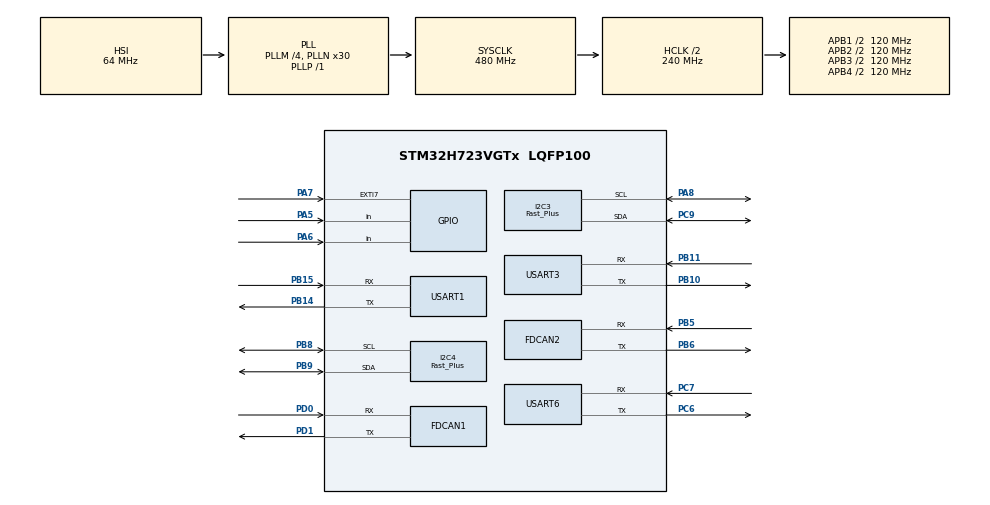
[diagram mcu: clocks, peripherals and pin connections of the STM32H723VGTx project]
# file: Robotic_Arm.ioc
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CORTEX_M7.default_mode_Activation=0
Dma.Request0=USART1_RX
Dma.Request1=USART1_TX
Dma.USART1_RX.0.Direction=DMA_PERIPH_TO_MEMORY
Dma.USART1_RX.0.EventEnable=DISABLE
Dma.USART1_RX.0.FIFOMode=DMA_FIFOMODE_DISABLE
Dma.USART1_RX.0.Instance=DMA1_Stream0
Dma.USART1_RX.0.MemDataAlignment=DMA_MDATAALIGN_BYTE
Dma.USART1_RX.0.MemInc=DMA_MINC_ENABLE
Dma.USART1_RX.0.Mode=DMA_NORMAL
Dma.USART1_RX.0.PeriphDataAlignment=DMA_PDATAALIGN_BYTE
Dma.USART1_RX.0.PeriphInc=DMA_PINC_DISABLE
Dma.USART1_RX.0.Polarity=HAL_DMAMUX_REQ_GEN_RISING
Dma.USART1_RX.0.Priority=DMA_PRIORITY_LOW
Dma.USART1_RX.0.RequestNumber=1
Dma.USART1_RX.0.SignalID=NONE
Dma.USART1_RX.0.SyncEnable=DISABLE
Dma.USART1_RX.0.SyncPolarity=HAL_DMAMUX_SYNC_NO_EVENT
Dma.USART1_RX.0.SyncRequestNumber=1
Dma.USART1_RX.0.SyncSignalID=NONE
Dma.USART1_TX.1.Direction=DMA_MEMORY_TO_PERIPH
Dma.USART1_TX.1.EventEnable=DISABLE
Dma.USART1_TX.1.FIFOMode=DMA_FIFOMODE_DISABLE
Dma.USART1_TX.1.Instance=DMA1_Stream1
Dma.USART1_TX.1.MemDataAlignment=DMA_MDATAALIGN_BYTE
Dma.USART1_TX.1.MemInc=DMA_MINC_ENABLE
Dma.USART1_TX.1.Mode=DMA_NORMAL
Dma.USART1_TX.1.PeriphDataAlignment=DMA_PDATAALIGN_BYTE
Dma.USART1_TX.1.PeriphInc=DMA_PINC_DISABLE
Dma.USART1_TX.1.Polarity=HAL_DMAMUX_REQ_GEN_RISING
Dma.USART1_TX.1.Priority=DMA_PRIORITY_LOW
Dma.USART1_TX.1.RequestNumber=1
Dma.USART1_TX.1.SignalID=NONE
Dma.USART1_TX.1.SyncEnable=DISABLE
Dma.USART1_TX.1.SyncPolarity=HAL_DMAMUX_SYNC_NO_EVENT
Dma.USART1_TX.1.SyncRequestNumber=1
Dma.USART1_TX.1.SyncSignalID=NONE
FDCAN1.AutoRetransmission=ENABLE
FDCAN1.CalculateBaudRateNominal=1000000
FDCAN1.CalculateTimeBitNominal=1000
FDCAN1.CalculateTimeQuantumNominal=25.0
FDCAN1.DataPrescaler=3
FDCAN1.DataSyncJumpWidth=2
FDCAN1.DataTimeSeg1=10
FDCAN1.DataTimeSeg2=10
FDCAN1.Mode=FDCAN_MODE_NORMAL
FDCAN1.NominalPrescaler=3
FDCAN1.NominalSyncJumpWidth=10
FDCAN1.NominalTimeSeg1=29
FDCAN1.NominalTimeSeg2=10
FDCAN1.RxFifo0ElmtsNbr=3
FDCAN1.StdFiltersNbr=1
FDCAN1.TxFifoQueueElmtsNbr=3
FDCAN2.AutoRetransmission=ENABLE
FDCAN2.CalculateBaudRateNominal=499999
FDCAN2.CalculateTimeBitNominal=2000
FDCAN2.CalculateTimeQuantumNominal=166.66666666666669
FDCAN2.Mode=FDCAN_MODE_NORMAL
FDCAN2.NominalPrescaler=20
FDCAN2.NominalTimeSeg1=9
FDCAN2.NominalTimeSeg2=2
FDCAN2.RxFifo0ElmtsNbr=3
FDCAN2.TxFifoQueueElmtsNbr=3
FREERTOS.Mutexes01=uart_log_mutex,Dynamic,NULL,Available;Read_Motor_Mutex,Dynamic,NULL,Available;OTTO_Uart_Mutex,Dynamic,NULL,Available
FREERTOS.Queues01=Solve_Angle,16,uint16_t,0,Dynamic,NULL,NULL;Motor_State,16,uint16_t,0,Dynamic,NULL,NULL;Target_Pos,16,uint16_t,0,Dynamic,NULL,NULL;CAN1RX_Data,16,CAN_Rx_Msg_t*,0,Dynamic,NULL,NULL;CAN2RX_Data,16,CAN_Rx_Msg_t*,0,Dynamic,NULL,NULL
FREERTOS.Tasks01=Motor_Control_T,40,256,Motor_Control,As weak,NULL,Dynamic,NULL,NULL;Solve_Task,32,1024,Solve,As weak,NULL,Dynamic,NULL,NULL;Camera_Data_Tas,24,256,Camera_Data,As weak,NULL,Dynamic,NULL,NULL;OLED_Task,16,1024,OLED,As weak,NULL,Dynamic,NULL,NULL;Log_Task,11,512,Log,As weak,NULL,Dynamic,NULL,NULL
I2C3.I2C_Speed_Mode=I2C_Fast_Plus
I2C3.Timing=0x0050174F
I2C4.I2C_Speed_Mode=I2C_Fast_Plus
I2C4.Timing=0x0050174F
Mcu.Family=STM32H7
Mcu.Name=STM32H723VGTx
Mcu.Package=LQFP100
NVIC.DMA1_Stream0_IRQn=true\:5\:0\:false\:false\:true\:true\:false\:true\:true
NVIC.DMA1_Stream1_IRQn=true\:5\:0\:false\:false\:true\:true\:false\:true\:true
NVIC.EXTI9_5_IRQn=true\:6\:0\:true\:false\:true\:true\:true\:true\:true
NVIC.FDCAN1_IT0_IRQn=true\:5\:0\:true\:false\:true\:true\:true\:true\:true
NVIC.FDCAN1_IT1_IRQn=true\:5\:0\:false\:false\:true\:true\:true\:true\:true
NVIC.FDCAN2_IT0_IRQn=true\:5\:0\:false\:false\:true\:true\:true\:true\:true
NVIC.FDCAN2_IT1_IRQn=true\:5\:0\:false\:false\:true\:true\:true\:true\:true
NVIC.PriorityGroup=NVIC_PRIORITYGROUP_4
NVIC.TIM23_IRQn=true\:15\:0\:false\:false\:true\:false\:false\:true\:true
NVIC.TimeBase=TIM23_IRQn
NVIC.TimeBaseIP=TIM23
NVIC.USART1_IRQn=true\:5\:0\:false\:false\:true\:true\:true\:true\:true
NVIC.USART3_IRQn=true\:5\:0\:true\:false\:true\:true\:false\:true\:true
NVIC.USART6_IRQn=true\:5\:0\:false\:false\:true\:true\:true\:true\:true
PA5.GPIO_PuPd=GPIO_PULLUP
PA5.Signal=GPIO_Input
PA6.GPIO_PuPd=GPIO_PULLUP
PA6.Signal=GPIO_Input
PA7.GPIO_ModeDefaultEXTI=GPIO_MODE_IT_FALLING
PA7.GPIO_PuPd=GPIO_PULLUP
PA7.Signal=GPXTI7
PA8.GPIO_Speed=GPIO_SPEED_FREQ_VERY_HIGH
PA8.Mode=I2C
PA8.Signal=I2C3_SCL
PB10.Mode=Asynchronous
PB10.Signal=USART3_TX
PB11.Mode=Asynchronous
PB11.Signal=USART3_RX
PB14.Mode=Asynchronous
PB14.Signal=USART1_TX
PB15.Mode=Asynchronous
PB15.Signal=USART1_RX
PB5.GPIO_Speed=GPIO_SPEED_FREQ_VERY_HIGH
PB5.Mode=FDCAN_Activate
PB5.Signal=FDCAN2_RX
PB6.GPIO_Speed=GPIO_SPEED_FREQ_VERY_HIGH
PB6.Mode=FDCAN_Activate
PB6.Signal=FDCAN2_TX
PB8.Mode=I2C
PB8.Signal=I2C4_SCL
PB9.Mode=I2C
PB9.Signal=I2C4_SDA
PC6.Mode=Asynchronous
PC6.Signal=USART6_TX
PC7.Mode=Asynchronous
PC7.Signal=USART6_RX
PC9.GPIO_Speed=GPIO_SPEED_FREQ_VERY_HIGH
PC9.Mode=I2C
PC9.Signal=I2C3_SDA
PD0.GPIO_Speed=GPIO_SPEED_FREQ_VERY_HIGH
PD0.Mode=FDCAN_Activate
PD0.Signal=FDCAN1_RX
PD1.GPIO_Speed=GPIO_SPEED_FREQ_VERY_HIGH
PD1.Mode=FDCAN_Activate
PD1.Signal=FDCAN1_TX
PH0-OSC_IN.Mode=HSE-External-Oscillator
PH0-OSC_IN.Signal=RCC_OSC_IN
PH1-OSC_OUT.Mode=HSE-External-Oscillator
PH1-OSC_OUT.Signal=RCC_OSC_OUT
ProjectManager.HeapSize=0x200
ProjectManager.StackSize=0x400
ProjectManager.TargetToolchain=CMake
RCC.ADCFreq_Value=129000000
RCC.APB1Freq_Value=120000000
RCC.APB2Freq_Value=120000000
RCC.APB3Freq_Value=120000000
RCC.APB4Freq_Value=120000000
RCC.CortexFreq_Value=480000000
RCC.D1PPRE=RCC_APB3_DIV2
RCC.D2PPRE1=RCC_APB1_DIV2
RCC.D2PPRE2=RCC_APB2_DIV2
RCC.D3PPRE=RCC_APB4_DIV2
RCC.DIVM1=4
RCC.DIVN1=30
RCC.DIVP1=1
RCC.DIVQ1=4
RCC.HCLKFreq_Value=240000000
RCC.HPRE=RCC_HCLK_DIV2
RCC.PLL2FRACN=0
RCC.PLL3FRACN=0
RCC.PLLFRACN=0
RCC.SYSCLKFreq_VALUE=480000000
RCC.SYSCLKSource=RCC_SYSCLKSOURCE_PLLCLK
RCC.USBFreq_Value=120000000
USART1.VirtualMode-Asynchronous=VM_ASYNC
USART3.VirtualMode-Asynchronous=VM_ASYNC
USART6.VirtualMode=VM_ASYNC
VP_FREERTOS_VS_CMSIS_V2.Mode=CMSIS_V2
VP_MEMORYMAP_VS_MEMORYMAP.Mode=CurAppReg
VP_SYS_VS_tim23.Mode=TIM23
board=custom

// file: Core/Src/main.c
/* USER CODE BEGIN Header */
/**
  ******************************************************************************
  * @file           : main.c
  * @brief          : Main program body
  ******************************************************************************
  * @attention
  *
  * Copyright (c) 2026 STMicroelectronics.
  * All rights reserved.
  *
  * This software is licensed under terms that can be found in the LICENSE file
  * in the root directory of this software component.
  * If no LICENSE file comes with this software, it is provided AS-IS.
  *
  ******************************************************************************
  */
/* USER CODE END Header */
#include "main.h"
#include "FreeRTOS.h"
#include "cmsis_os2.h"
#include "dma.h"
#include "fdcan.h"
#include "i2c.h"
#include "usart.h"
#include "gpio.h"

/* USER CODE BEGIN Includes */
#include <stdbool.h>
#include "6DOF_Control.h"
#include "DM_motor.h"
#include "ottohesl_OLED.h"
/* USER CODE END Includes */

/* USER CODE BEGIN PD */
motor_t motor1,motor2, motor3, motor4;
ZDT_FBpara_t z_motor1,z_motor2,z_motor3;
/* USER CODE END PD */

void SystemClock_Config(void);
void MX_FREERTOS_Init(void);

/* USER CODE BEGIN 0 */
#define CAN_QUEUE_LEN 16
CAN_Rx_Msg_t CAN1_Rx_Buf[CAN_QUEUE_LEN];
CAN_Rx_Msg_t CAN2_Rx_Buf[CAN_QUEUE_LEN];
uint8_t CAN1_Buf_Index = 0;
uint8_t CAN2_Buf_Index = 0;
FDCAN_RxHeaderTypeDef RxHeader_ZDT;
FDCAN_RxHeaderTypeDef RxHeader_DAM;
uint8_t DAM_MOTOR_RxData[20];
uint8_t ZDT_MOTOR_rxData[20]={0};
void HAL_FDCAN_RxFifo0Callback(FDCAN_HandleTypeDef* hfdcan, uint32_t RxFifo0ITs) {
#if check_num
  if (hfdcan->Instance == FDCAN1) {
    // 获取接收到的消息
    if (HAL_FDCAN_GetRxMessage(hfdcan, FDCAN_RX_FIFO0, &RxHeader_DAM, DAM_MOTOR_RxData) == HAL_OK) {
      // 解析电机反馈数据（反馈帧ID为0）
      uint8_t addr = DAM_MOTOR_RxData[0] & 0xF;
      motor_t *motor = NULL;
      switch(addr) {
        case MOTOR1:
          motor=DAM_get_motor1();
          break;
        case MOTOR2:
          motor=DAM_get_motor2();
          break;
        case MOTOR3:
          motor=DAM_get_motor3();
          break;
        default:
          OTTO_uart(&huart_debug,"DAM地址错误：0x%02X",addr);
          break;
      }
      if (motor != NULL) {
        // 解析反馈数据
        dm_motor_fbdata(motor, DAM_MOTOR_RxData);
      }
    }
  }
#else
  if (hfdcan->Instance == FDCAN1) {
    if (HAL_FDCAN_GetRxMessage(hfdcan, FDCAN_RX_FIFO0, &RxHeader_DAM, DAM_MOTOR_RxData) == HAL_OK) {
      // 串口打印帧头信息（扩展帧、ID、长度）
      OTTO_uart(&huart_debug, "===== FDCAN1回环帧（发送的命令）=====");
      OTTO_uart(&huart_debug, "帧类型：扩展帧（29位）");
      OTTO_uart(&huart_debug, "帧ID：0x%03X", RxHeader_DAM.Identifier); // 扩展帧ID用8位十六进制
      OTTO_uart(&huart_debug, "数据长度：%d 字节", RxHeader_DAM.DataLength ); // DLC转字节数
      OTTO_uart(&huart_debug, "数据内容（十六进制）：");
      // 打印数据内容（逐字节）
      for (int i = 0; i < RxHeader_DAM.DataLength ; i++) {
        OTTO_uart(&huart_debug, "0x%02X ", DAM_MOTOR_RxData[i]);
      }
      OTTO_uart(&huart_debug, "=====================================");
    }else {
      OTTO_uart(&huart_debug,"can接受数据错误");
    }
  }

#endif

#if check_num
  if (hfdcan->Instance == FDCAN2) {
    //获取接收到的消息
    if (HAL_FDCAN_GetRxMessage(hfdcan, FDCAN_RX_FIFO0, &RxHeader_ZDT, ZDT_MOTOR_rxData) == HAL_OK) {
      // 解析电机反馈数据（反馈帧ID为0）
      uint8_t addr = (RxHeader_ZDT.Identifier>>8)&0xFF;
      ZDT_FBpara_t *motor = NULL;
      switch(addr) {
        case ZDT_MOTOR1:
          motor = get_motor1();
          break;
        case ZDT_MOTOR2:
          motor = get_motor2();
          break;
        case ZDT_MOTOR3:
          motor = get_motor3();
          break;
        default:
          OTTO_uart(&huart_debug,"ZDT地址错误：0x%04X",addr);
          break;
      }
      if (motor != NULL) {
        // 解析反馈数据
        ZDT_Control_Analyze_FDBack(motor, ZDT_MOTOR_rxData, addr);
      }
    }
  }
#else check_num
if (hfdcan->Instance == FDCAN2) {
  if (HAL_FDCAN_GetRxMessage(hfdcan, FDCAN_RX_FIFO0, &RxHeader_ZDT, ZDT_MOTOR_rxData) == HAL_OK) {
    // 串口打印帧头信息（扩展帧、ID、长度）
    OTTO_uart(&huart_debug, "帧ID：0x%04X", RxHeader_ZDT.Identifier); // 扩展帧ID用8位十六进制
    OTTO_uart(&huart_debug, "数据长度：%d 字节", RxHeader_ZDT.DataLength ); // DLC转字节数
     //打印数据内容（逐字节）
     for (int i = 0; i < RxHeader_ZDT.DataLength ; i++) {
       OTTO_uart(&huart_debug, "0x%02X ", ZDT_MOTOR_rxData[i]);
     }
    OTTO_uart(&huart_debug, "=====================================");
  }
}
#endif
}
//获取电机反馈
ZDT_FBpara_t* get_motor1() {
  return &z_motor1;
}
ZDT_FBpara_t*get_motor2() {
  return &z_motor2;
}
ZDT_FBpara_t* get_motor3() {
  return &z_motor3;
}
motor_t* DAM_get_motor1() {
  return &motor1;
}
motor_t* DAM_get_motor2() {
  return &motor2;
}
motor_t* DAM_get_motor3() {
  return &motor3;
}
void enable_motor(motor_t *motor) {
  dm_motor_enable(&hfdcan_dam, motor);
  HAL_Delay(100);
  dm_motor_enable(&hfdcan_dam, motor);
  HAL_Delay(100);
  dm_motor_enable(&hfdcan_dam, motor);
  HAL_Delay(100);
}
void write_pos_mode(motor_name motor) {
  write_motor_data(motor,10, pos_mode, 0, 0, 0);
  HAL_Delay(200);
  save_motor_data(motor, 10);
  HAL_Delay(200);
}
void all_motor_init(float RPS) {
  DAM_MOTOR_POS(MOTOR1 ,0, RPS);
  DAM_MOTOR_POS(MOTOR2 ,0, RPS);
  DAM_MOTOR_POS(MOTOR3 ,0, RPS);
}
void set_origin() {
  save_pos_zero(&hfdcan_dam, MOTOR1, POS_MODE);
  save_pos_zero(&hfdcan_dam, MOTOR2, POS_MODE);
  save_pos_zero(&hfdcan_dam, MOTOR3, POS_MODE);
  //ZDT_Control_Origin_SET(&hfdcan_zdt,ZDT_MOTOR1);
  //ZDT_Control_Origin_SET(&hfdcan_zdt,ZDT_MOTOR2);
}
void ZDT_Motors_Init(void);
void HAL_GPIO_EXTI_Callback(uint16_t GPIO_Pin){
    if (GPIO_Pin==ROBOTIC_ZERO_KEY) {
      MOTOR_SetPosVal(MOTOR_1, 0,  MOTOR1_MAX_VEL );
      MOTOR_SetPosVal(MOTOR_2, 60,  MOTOR2_MAX_VEL );
      MOTOR_SetPosVal(MOTOR_3, -90,  MOTOR3_MAX_VEL );
      MOTOR_SetPosVal(MOTOR_4, 0,  MOTOR4_MAX_VEL );
      MOTOR_SetPosVal(MOTOR_5, -60,  MOTOR5_MAX_VEL );
      MOTOR_SetPosVal(MOTOR_6, 0,  MOTOR6_MAX_VEL );
    }
}
/* USER CODE END 0 */

int main(void)
{

  /* MCU Configuration--------------------------------------------------------*/

  /* Reset of all peripherals, Initializes the Flash interface and the Systick. */
  HAL_Init();

  /* USER CODE BEGIN Init */
  /* FPU settings ------------------------------------------------------------*/
#if (__FPU_PRESENT == 1) && (__FPU_USED == 1)
  SCB->CPACR |= ((3UL << (10*2))|(3UL << (11*2)));  /* set CP10 and CP11 Full Access */
#endif
  /* USER CODE END Init */

  /* Configure the system clock */
  SystemClock_Config();

  /* Initialize all configured peripherals */
  MX_GPIO_Init();
  MX_DMA_Init();
  MX_FDCAN1_Init();
  MX_FDCAN2_Init();
  MX_USART1_UART_Init();
  MX_USART3_UART_Init();
  MX_I2C4_Init();
  MX_I2C3_Init();
  MX_USART6_UART_Init();
  /* USER CODE BEGIN 2 */
  /**************************开启fdcan和fifo中断*********************************/
  HAL_FDCAN_Start(&hfdcan1);
  HAL_FDCAN_Start(&hfdcan2);
  HAL_FDCAN_ActivateNotification(&hfdcan1, FDCAN_IT_RX_FIFO0_NEW_MESSAGE, 0);
  HAL_FDCAN_ActivateNotification(&hfdcan2, FDCAN_IT_RX_FIFO0_NEW_MESSAGE, 0);
  /**************************初始化达妙电机/张大头步进电机***************************/
  DAM_Motor_Init(&motor1,MOTOR1,POS_MODE);
  DAM_Motor_Init(&motor2,MOTOR2,POS_MODE);
  DAM_Motor_Init(&motor3,MOTOR3,POS_MODE);
  ZDT_Motors_Init();
  /************************初次调用，程序运行后无需再次调用***************************/
  //write_pos_mode(MOTOR1);
  //write_pos_mode(MOTOR2);
  //write_pos_mode(MOTOR3);
  //set_origin();
  /*********************************使能达妙电机**********************************/
  HAL_Delay(500);
  enable_motor(&motor1);
  enable_motor(&motor2);
  enable_motor(&motor3);
  HAL_Delay(500);
  enable_motor(&motor1);
  enable_motor(&motor2);
  enable_motor(&motor3);
  // ZDT_MOTOR_POSITION(ZDT_MOTOR2,CW,0.2, 0.5, 0);
  // ZDT_MOTOR_POSITION(ZDT_MOTOR3,CW,0.2, 0.5,0);
  // ZDT_MOTOR_POSITION(ZDT_MOTOR1,CW,0.2, 0.5,0);
  /*********************************运动学初始化***********************************/
   //ZDT_Control_Origin_SET(&hfdcan_zdt,ZDT_MOTOR1);
  //ZDT_MOTOR_POSITION(ZDT_MOTOR2,CW,0.2, 0.5,62);
   ZDT_Control_Origin_SET(&hfdcan_zdt,ZDT_MOTOR1);
  //HAL_Delay(1000);
  //ZDT_Control_Origin_SET(&hfdcan_zdt,ZDT_MOTOR2);
  all_motor_init(0);
 // ZDT_Control_Origin_SET(&hfdcan_zdt,ZDT_MOTOR1);
  //ZDT_MOTOR_POSITION(ZDT_MOTOR2,CCW,0.2, 0.5, 0);
  //ZDT_Control_Origin_SET(&hfdcan_zdt,ZDT_MOTOR2);
  //ZDT_Control_Origin_SET(&hfdcan_zdt,ZDT_MOTOR3);
  /*********************************OLED初始化***********************************/
  OLED_Init();

  /* USER CODE END 2 */

  /* Init scheduler */
  osKernelInitialize();  /* Call init function for freertos objects (in cmsis_os2.c) */
  MX_FREERTOS_Init();

  /* Start scheduler */
  osKernelStart();

  /* We should never get here as control is now taken by the scheduler */

  /* Infinite loop */
  while (1)
  {

  }
}

void SystemClock_Config(void)
{
  RCC_OscInitTypeDef RCC_OscInitStruct = {0};
  RCC_ClkInitTypeDef RCC_ClkInitStruct = {0};

  /** Supply configuration update enable
  */
  HAL_PWREx_ConfigSupply(PWR_LDO_SUPPLY);

  /** Configure the main internal regulator output voltage
  */
  __HAL_PWR_VOLTAGESCALING_CONFIG(PWR_REGULATOR_VOLTAGE_SCALE0);

  while(!__HAL_PWR_GET_FLAG(PWR_FLAG_VOSRDY)) {}

  /** Initializes the RCC Oscillators according to the specified parameters
  * in the RCC_OscInitTypeDef structure.
  */
  RCC_OscInitStruct.OscillatorType = RCC_OSCILLATORTYPE_HSI;
  RCC_OscInitStruct.HSIState = RCC_HSI_DIV1;
  RCC_OscInitStruct.HSICalibrationValue = 64;
  RCC_OscInitStruct.PLL.PLLState = RCC_PLL_ON;
  RCC_OscInitStruct.PLL.PLLSource = RCC_PLLSOURCE_HSI;
  RCC_OscInitStruct.PLL.PLLM = 4;
  RCC_OscInitStruct.PLL.PLLN = 30;
  RCC_OscInitStruct.PLL.PLLP = 1;
  RCC_OscInitStruct.PLL.PLLQ = 4;
  RCC_OscInitStruct.PLL.PLLR = 2;
  RCC_OscInitStruct.PLL.PLLRGE = RCC_PLL1VCIRANGE_3;
  RCC_OscInitStruct.PLL.PLLVCOSEL = RCC_PLL1VCOWIDE;
  RCC_OscInitStruct.PLL.PLLFRACN = 0;
  if (HAL_RCC_OscConfig(&RCC_OscInitStruct) != HAL_OK)
  {
    Error_Handler();
  }

  /** Initializes the CPU, AHB and APB buses clocks
  */
  RCC_ClkInitStruct.ClockType = RCC_CLOCKTYPE_HCLK|RCC_CLOCKTYPE_SYSCLK
                              |RCC_CLOCKTYPE_PCLK1|RCC_CLOCKTYPE_PCLK2
                              |RCC_CLOCKTYPE_D3PCLK1|RCC_CLOCKTYPE_D1PCLK1;
  RCC_ClkInitStruct.SYSCLKSource = RCC_SYSCLKSOURCE_PLLCLK;
  RCC_ClkInitStruct.SYSCLKDivider = RCC_SYSCLK_DIV1;
  RCC_ClkInitStruct.AHBCLKDivider = RCC_HCLK_DIV2;
  RCC_ClkInitStruct.APB3CLKDivider = RCC_APB3_DIV2;
  RCC_ClkInitStruct.APB1CLKDivider = RCC_APB1_DIV2;
  RCC_ClkInitStruct.APB2CLKDivider = RCC_APB2_DIV2;
  RCC_ClkInitStruct.APB4CLKDivider = RCC_APB4_DIV2;

  if (HAL_RCC_ClockConfig(&RCC_ClkInitStruct, FLASH_LATENCY_3) != HAL_OK)
  {
    Error_Handler();
  }
}

/* USER CODE BEGIN 4 */
void ZDT_Motors_Init(void)
{
  // 初始化电机1
  z_motor1.id = ZDT_MOTOR1;
  z_motor1.vaild = 0;  // 初始化为无效数据
  z_motor1.S_Flag.IS_ENABLE = false;
  z_motor1.S_Flag.IS_INPLACE = false;
  z_motor1.S_Flag.IS_LOCKED = false;
  z_motor1.S_Flag.IS_SAVE_LOCKED = false;

  // 其他参数初始化为0
  z_motor1.S_vbus = 0;
  z_motor1.S_Cpos = 0.0f;
  z_motor1.S_Tpos = 0.0f;
  z_motor1.S_Perr = 0.0f;
  z_motor1.S_Temp = 0.0f;
  z_motor1.S_Vel.Vel_RPM = 0.0f;
  z_motor1.S_Vel.Vel_RPS = 0.0f;
  // 初始化电机2
  z_motor2.id = ZDT_MOTOR2;
  z_motor2.vaild = 0;  // 初始化为无效数据
  z_motor2.S_Flag.IS_ENABLE = false;
  z_motor2.S_Flag.IS_INPLACE = false;
  z_motor2.S_Flag.IS_LOCKED = false;
  z_motor2.S_Flag.IS_SAVE_LOCKED = false;

  // 其他参数初始化为0
  z_motor2.S_vbus = 0;
  z_motor2.S_Cpos = 0.0f;
  z_motor2.S_Tpos = 0.0f;
  z_motor2.S_Perr = 0.0f;
  z_motor2.S_Temp = 0.0f;
  z_motor2.S_Vel.Vel_RPM = 0.0f;
  z_motor2.S_Vel.Vel_RPS = 0.0f;
  // 初始化电机3
  z_motor3.id = ZDT_MOTOR3;
  z_motor3.vaild = 0;  // 初始化为无效数据0
  z_motor3.S_Flag.IS_ENABLE = false;
  z_motor3.S_Flag.IS_INPLACE = false;
  z_motor3.S_Flag.IS_LOCKED = false;
  z_motor3.S_Flag.IS_SAVE_LOCKED = false;

  // 其他参数初始化为0
  z_motor3.S_vbus = 0;
  z_motor3.S_Cpos = 0.0f;
  z_motor3.S_Tpos = 0.0f;
  z_motor3.S_Perr = 0.0f;
  z_motor3.S_Temp = 0.0f;
  z_motor3.S_Vel.Vel_RPM = 0.0f;
  z_motor3.S_Vel.Vel_RPS = 0.0f;
}
/* USER CODE END 4 */

void HAL_TIM_PeriodElapsedCallback(TIM_HandleTypeDef *htim)
{
  if (htim->Instance == TIM23)
  {
    HAL_IncTick();
  }
}

void Error_Handler(void)
{
  __disable_irq();
  while (1)
  {
  }
}

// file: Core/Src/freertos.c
/* USER CODE BEGIN Header */
/**
  ******************************************************************************
  * File Name          : freertos.c
  * Description        : Code for freertos applications
  ******************************************************************************
  * @attention
  *
  * Copyright (c) 2026 STMicroelectronics.
  * All rights reserved.
  *
  * This software is licensed under terms that can be found in the LICENSE file
  * in the root directory of this software component.
  * If no LICENSE file comes with this software, it is provided AS-IS.
  *
  ******************************************************************************
  */
/* USER CODE END Header */

#include "FreeRTOS.h"
#include "task.h"
#include "main.h"
#include "FreeRTOS.h"
#include "cmsis_os2.h"

/* Definitions for Motor_Control_T */
osThreadId_t Motor_Control_THandle;
const osThreadAttr_t Motor_Control_T_attributes = {
  .name = "Motor_Control_T",
  .stack_size = 256 * 4,
  .priority = (osPriority_t) osPriorityHigh,
};
/* Definitions for Solve_Task */
osThreadId_t Solve_TaskHandle;
const osThreadAttr_t Solve_Task_attributes = {
  .name = "Solve_Task",
  .stack_size = 1024 * 4,
  .priority = (osPriority_t) osPriorityAboveNormal,
};
/* Definitions for Camera_Data_Tas */
osThreadId_t Camera_Data_TasHandle;
const osThreadAttr_t Camera_Data_Tas_attributes = {
  .name = "Camera_Data_Tas",
  .stack_size = 256 * 4,
  .priority = (osPriority_t) osPriorityNormal,
};
/* Definitions for OLED_Task */
osThreadId_t OLED_TaskHandle;
const osThreadAttr_t OLED_Task_attributes = {
  .name = "OLED_Task",
  .stack_size = 1024 * 4,
  .priority = (osPriority_t) osPriorityBelowNormal,
};
/* Definitions for Log_Task */
osThreadId_t Log_TaskHandle;
const osThreadAttr_t Log_Task_attributes = {
  .name = "Log_Task",
  .stack_size = 512 * 4,
  .priority = (osPriority_t) osPriorityLow3,
};
/* Definitions for Solve_Angle */
osMessageQueueId_t Solve_AngleHandle;
const osMessageQueueAttr_t Solve_Angle_attributes = {
  .name = "Solve_Angle"
};
/* Definitions for Motor_State */
osMessageQueueId_t Motor_StateHandle;
const osMessageQueueAttr_t Motor_State_attributes = {
  .name = "Motor_State"
};
/* Definitions for Target_Pos */
osMessageQueueId_t Target_PosHandle;
const osMessageQueueAttr_t Target_Pos_attributes = {
  .name = "Target_Pos"
};
/* Definitions for CAN1RX_Data */
osMessageQueueId_t CAN1RX_DataHandle;
const osMessageQueueAttr_t CAN1RX_Data_attributes = {
  .name = "CAN1RX_Data"
};
/* Definitions for CAN2RX_Data */
osMessageQueueId_t CAN2RX_DataHandle;
const osMessageQueueAttr_t CAN2RX_Data_attributes = {
  .name = "CAN2RX_Data"
};
/* Definitions for uart_log_mutex */
osMutexId_t uart_log_mutexHandle;
const osMutexAttr_t uart_log_mutex_attributes = {
  .name = "uart_log_mutex"
};
/* Definitions for Read_Motor_Mutex */
osMutexId_t Read_Motor_MutexHandle;
const osMutexAttr_t Read_Motor_Mutex_attributes = {
  .name = "Read_Motor_Mutex"
};
/* Definitions for OTTO_Uart_Mutex */
osMutexId_t OTTO_Uart_MutexHandle;
const osMutexAttr_t OTTO_Uart_Mutex_attributes = {
  .name = "OTTO_Uart_Mutex"
};

void Motor_Control(void *argument);
void Solve(void *argument);
void Camera_Data(void *argument);
void OLED(void *argument);
void Log(void *argument);

void MX_FREERTOS_Init(void); /* (MISRA C 2004 rule 8.1) */

void MX_FREERTOS_Init(void) {
  /* Create the mutex(es) */
  /* creation of uart_log_mutex */
  uart_log_mutexHandle = osMutexNew(&uart_log_mutex_attributes);

  /* creation of Read_Motor_Mutex */
  Read_Motor_MutexHandle = osMutexNew(&Read_Motor_Mutex_attributes);

  /* creation of OTTO_Uart_Mutex */
  OTTO_Uart_MutexHandle = osMutexNew(&OTTO_Uart_Mutex_attributes);

  /* Create the queue(s) */
  /* creation of Solve_Angle */
  Solve_AngleHandle = osMessageQueueNew (16, sizeof(uint16_t), &Solve_Angle_attributes);

  /* creation of Motor_State */
  Motor_StateHandle = osMessageQueueNew (16, sizeof(uint16_t), &Motor_State_attributes);

  /* creation of Target_Pos */
  Target_PosHandle = osMessageQueueNew (16, sizeof(uint16_t), &Target_Pos_attributes);

  /* creation of CAN1RX_Data */
  CAN1RX_DataHandle = osMessageQueueNew (16, sizeof(CAN_Rx_Msg_t*), &CAN1RX_Data_attributes);

  /* creation of CAN2RX_Data */
  CAN2RX_DataHandle = osMessageQueueNew (16, sizeof(CAN_Rx_Msg_t*), &CAN2RX_Data_attributes);

  /* Create the thread(s) */
  /* creation of Motor_Control_T */
  Motor_Control_THandle = osThreadNew(Motor_Control, NULL, &Motor_Control_T_attributes);

  /* creation of Solve_Task */
  Solve_TaskHandle = osThreadNew(Solve, NULL, &Solve_Task_attributes);

  /* creation of Camera_Data_Tas */
  Camera_Data_TasHandle = osThreadNew(Camera_Data, NULL, &Camera_Data_Tas_attributes);

  /* creation of OLED_Task */
  OLED_TaskHandle = osThreadNew(OLED, NULL, &OLED_Task_attributes);

  /* creation of Log_Task */
  Log_TaskHandle = osThreadNew(Log, NULL, &Log_Task_attributes);

}

__weak void Motor_Control(void *argument)
{
  for(;;)
  {
    osDelay(1);
  }
}

__weak void Solve(void *argument)
{
  for(;;)
  {
    osDelay(1);
  }
}

__weak void Camera_Data(void *argument)
{
  for(;;)
  {
    osDelay(1);
  }
}

__weak void OLED(void *argument)
{
  for(;;)
  {
    osDelay(1);
  }
}

__weak void Log(void *argument)
{
  for(;;)
  {
    osDelay(1);
  }
}
